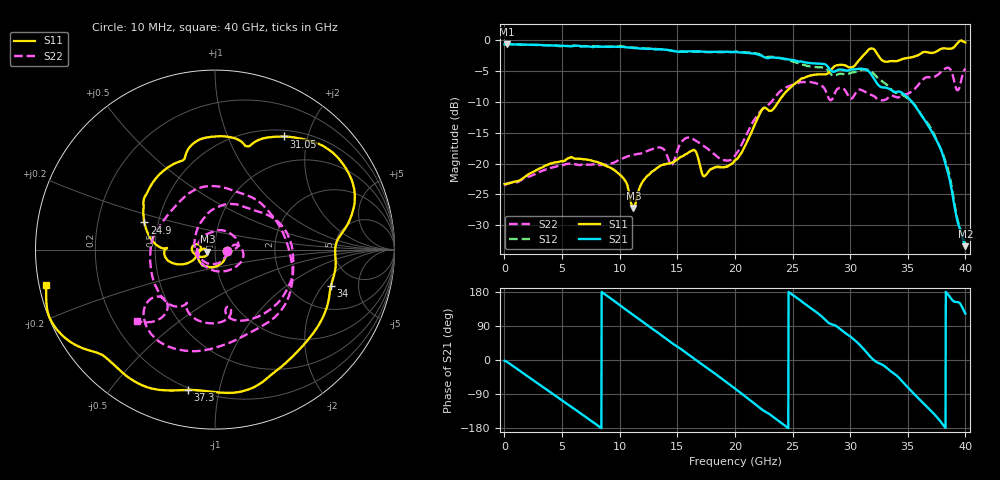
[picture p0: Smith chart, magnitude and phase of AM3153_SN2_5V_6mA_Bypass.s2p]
!Agilent Technologies,E8364B,MY43040894,A.07.50.67
!Agilent E8364B: A.07.50.67
!Date: Thursday, May 14, 2020 10:06:09
!Correction: S11(Full 2 Port(1,2))
!S21(Full 2 Port(1,2))
!S12(Full 2 Port(1,2))
!S22(Full 2 Port(1,2))
!S2P File: Measurements: S11, S21, S12, S22:
# Hz S  dB  R 50
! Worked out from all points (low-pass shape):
!   1601 points, 10 MHz to 40 GHz, reference 50 ohm
!   highest |S21| = -0.64 dB at 234.9 MHz (marker M1); lowest = -33.4 dB at 40 GHz (marker M2)
!   |S21| within 3 dB of the highest: start of sweep to 26.26 GHz
!   lowest |S11| = -27.2 dB at 11.18 GHz (marker M3), VSWR 1.09, Z = 46 - j1.09 ohm
!   |S11| at or under -10 dB: start of sweep to 23.76 GHz
!   |S22| runs from -23.6 to -4.4 dB; largest |S21 - S12| = 0.068
!   S11 on the Smith chart (normalised r, x): 10 MHz: 1.15, -0.01; 24.9 GHz: 0.42, +0.15; 31.05 GHz: 0.59, +1.62; 34 GHz: 3.26, -2.43; 37.3 GHz: 0.19, -0.81; 40 GHz: 0.02, -0.10
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1e7  -23.33 -5.0  -0.64 -2.0  -0.69 -1.2  -23.58 -8.4
2.349438e8  -23.29 -7.3  -0.64 -5.2  -0.65 -5.0  -23.24 -10.9
3.584106e9  -20.31 -91.6  -0.83 -76.7  -0.80 -76.5  -20.98 -129.1
6.683331e9  -19.26 -142.1  -1.00 -142.7  -0.97 -142.5  -20.15 144.6
8.957762e9  -20.51 -167.0  -1.06 168.1  -1.03 168.2  -20.13 100.7
1.118221e10  -27.22 -164.2  -1.26 118.6  -1.19 118.4  -18.59 62.6
1.335666e10  -20.58 -154.8  -1.45 71.2  -1.44 70.3  -17.38 21.4
1.670582e10  -18.49 167.0  -1.77 -1.7  -1.85 -2.3  -16.39 -38.1
1.735566e10  -22.04 175.8  -1.85 -16.0  -1.91 -16.3  -17.22 -57.5
2.0005e10  -19.46 -163.0  -1.87 -75.2  -1.86 -75.1  -18.68 169.4
2.230442e10  -11.37 -167.2  -2.51 -129.8  -2.40 -130.9  -11.33 69.3
2.490378e10  -7.49 159.0  -3.16 174.2  -3.37 171.0  -7.28 -0.8
2.667833e10  -5.66 126.3  -3.73 135.0  -4.29 133.5  -6.82 -44.5
2.915271e10  -3.97 87.0  -4.74 81.0  -5.42 83.0  -7.72 -93.6
3.105224e10  -2.64 58.7  -4.63 32.6  -4.74 39.2  -8.14 -144.5
3.202699e10  -1.42 24.9  -6.09 0.6  -5.38 6.3  -9.01 172.3
3.335166e10  -3.45 -3.8  -7.83 -25.4  -7.49 -28.8  -9.23 114.8
3.40015e10  -3.39 -17.4  -8.37 -40.2  -8.51 -42.0  -9.24 75.9
3.597601e10  -2.35 -65.5  -11.57 -103.0  -11.51 -101.9  -7.08 -12.9
3.730068e10  -1.98 -100.9  -15.55 -143.1  -15.30 -143.0  -5.94 -69.7
3.870032e10  -1.36 -134.5  -23.17 164.2  -22.65 164.9  -4.76 -130.4
4e10  -0.35 -168.2  -33.40 122.4  -33.15 121.9  -4.60 -137.5
